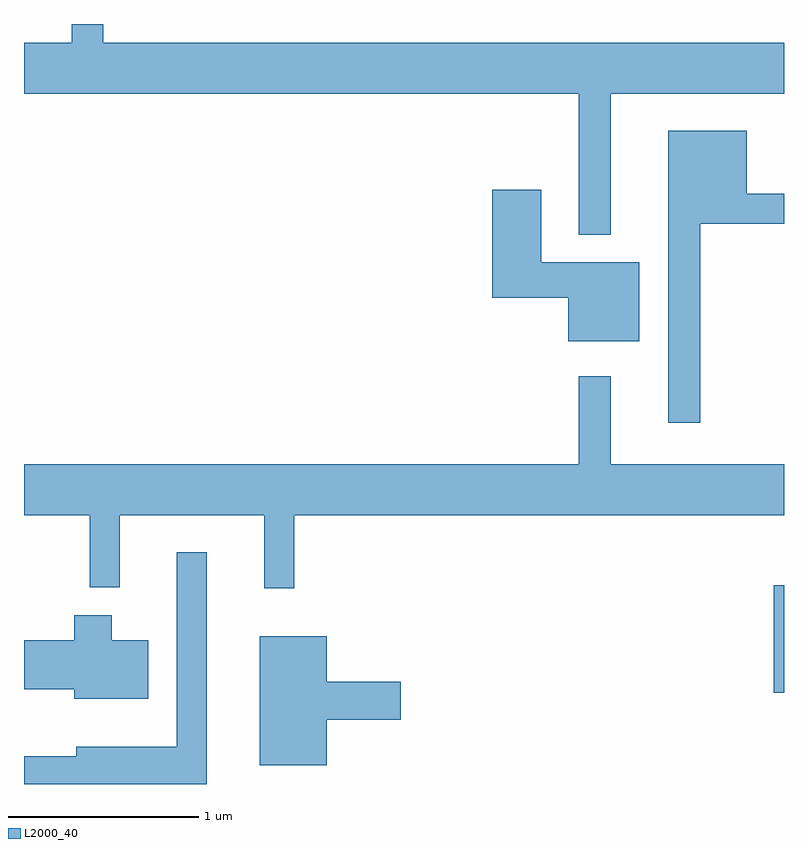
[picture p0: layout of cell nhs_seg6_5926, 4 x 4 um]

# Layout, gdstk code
import gdstk
lib = gdstk.Library(unit=1e-6, precision=1e-09)
def R(c, l, rs):  # rectangles x0, y0, x1, y1
    for r in rs: c.add(gdstk.rectangle(r[:2], r[2:], *l))
def P(c, l, *ps):  # polygons
    for p in ps: c.add(gdstk.Polygon(p, *l))
L2000_40 = (2000, 40)

nhs_seg6_5926 = lib.new_cell('nhs_seg6_5926')
R(nhs_seg6_5926, L2000_40, [(369.556,1564.641,369.611,1565.209)])
P(nhs_seg6_5926, L2000_40, [(368.699,1567.796),(369.611,1567.796),(369.611,1568.064),(366.029,1568.064),(366.029,1568.162),(365.861,1568.162),(365.861,1568.064),(365.611,1568.064),(365.611,1567.796),(368.531,1567.796),(368.531,1567.053),(368.699,1567.053)],
  [(369.169,1567.111),(369.611,1567.111),(369.611,1567.269),(369.414,1567.269),(369.414,1567.599),(369.001,1567.599),(369.001,1566.063),(369.169,1566.063)],
  [(368.849,1566.909),(368.334,1566.909),(368.334,1567.289),(368.076,1567.289),(368.076,1566.721),(368.476,1566.721),(368.476,1566.491),(368.849,1566.491)],
  [(367.034,1565.576),(369.611,1565.576),(369.611,1565.844),(368.699,1565.844),(368.699,1566.308),(368.531,1566.308),(368.531,1565.844),(365.611,1565.844),(365.611,1565.576),(365.956,1565.576),(365.956,1565.198),(366.114,1565.198),(366.114,1565.576),(366.876,1565.576),(366.876,1565.193),(367.034,1565.193)],
  [(366.574,1565.383),(366.416,1565.383),(366.416,1564.359),(365.886,1564.359),(365.886,1564.309),(365.611,1564.309),(365.611,1564.162),(366.574,1564.162)],
  [(366.264,1564.919),(366.074,1564.919),(366.074,1565.049),(365.876,1565.049),(365.876,1564.919),(365.611,1564.919),(365.611,1564.661),(365.876,1564.661),(365.876,1564.611),(366.264,1564.611)],
  [(367.204,1564.501),(367.594,1564.501),(367.594,1564.699),(367.204,1564.699),(367.204,1564.939),(366.851,1564.939),(366.851,1564.261),(367.204,1564.261)])

lib.write_gds('nhs_seg6_5926.gds')
